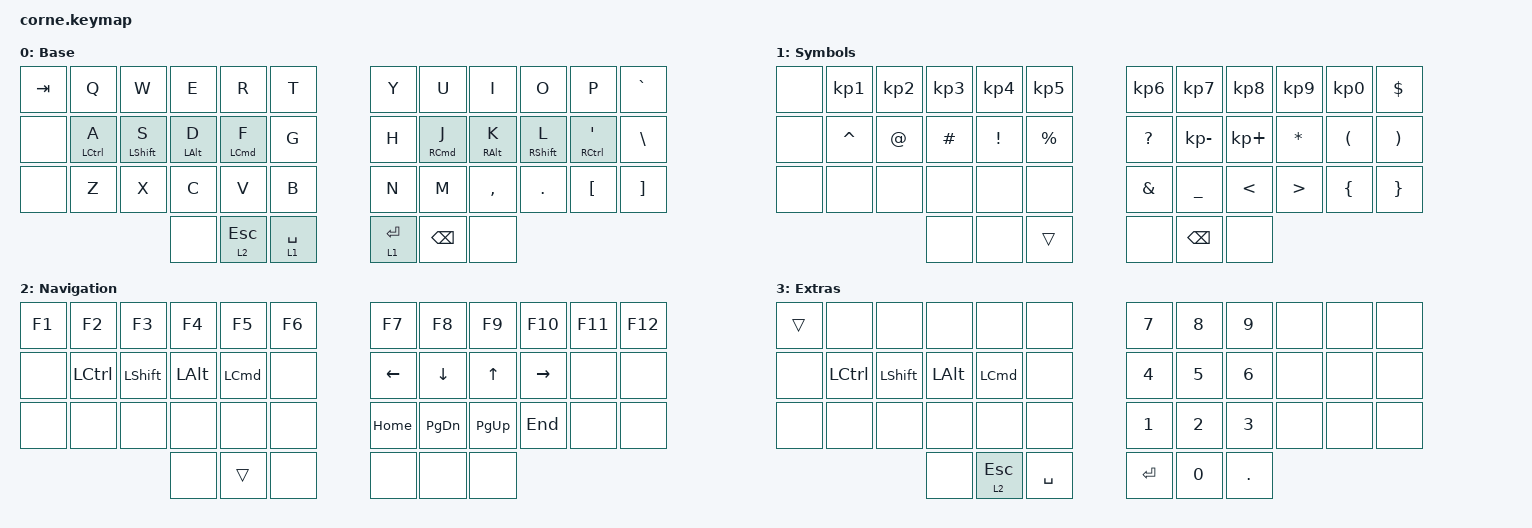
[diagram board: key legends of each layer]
/*
 * Copyright (c) 2020 The ZMK Contributors
 *
 * SPDX-License-Identifier: MIT
 */

#include <behaviors.dtsi>
#include <dt-bindings/zmk/keys.h>

&mt {
    tapping-term-ms = <200>;
    quick-tap-ms = <200>;
    flavor = "tap-preferred";
    require-prior-idle-ms = <125>;
};

/ {
    macros {
        alt_130: alt_130 {
            compatible = "zmk,behavior-macro";
            #binding-cells = <0>;
            bindings = <&none>;
            label = "ALT_130";
        };
    };

    keymap {
        compatible = "zmk,keymap";

        Base {
            // -----------------------------------------------------------------------------------------
            // |  TAB |  Q  |  W  |  E  |  R  |  T  |   |  Y  |  U   |  I  |  O  |  P  | BSPC |
            // | CTRL |  A  |  S  |  D  |  F  |  G  |   |  H  |  J   |  K  |  L  |  ;  |  '   |
            // | SHFT |  Z  |  X  |  C  |  V  |  B  |   |  N  |  M   |  ,  |  .  |  /  | ESC  |
            //                    | GUI | LWR | SPC |   | ENT | RSE  | ALT |

            bindings = <
&kp TAB  &kp Q               &kp W             &kp E           &kp R               &kp T          &kp Y        &kp U                &kp I            &kp O              &kp P                           &kp GRAVE
&none    &mt LEFT_CONTROL A  &mt LEFT_SHIFT S  &mt LEFT_ALT D  &mt LEFT_COMMAND F  &kp G          &kp H        &mt RIGHT_COMMAND J  &mt RIGHT_ALT K  &mt RIGHT_SHIFT L  &mt RIGHT_CONTROL SINGLE_QUOTE  &kp BACKSLASH
&none    &kp Z               &kp X             &kp C           &kp V               &kp B          &kp N        &kp M                &kp COMMA        &kp PERIOD         &kp LEFT_BRACKET                &kp RIGHT_BRACKET
                                               &none           &lt 2 ESC           &lt 1 SPACE    &lt 1 ENTER  &kp BACKSPACE        &none
            >;
        };

        Symbols {
            // -----------------------------------------------------------------------------------------
            // |  TAB |  !  |  @  |  #  |  $  |  %  |   |  ^  |  &  |  *  |  (  |  )  | BSPC |
            // | CTRL |     |     |     |     |     |   |  -  |  =  |  [  |  ]  |  \  |  `   |
            // | SHFT |     |     |     |     |     |   |  _  |  +  |  {  |  }  | "|" |  ~   |
            //                    | GUI |     | SPC |   | ENT |     | ALT |

            bindings = <
&none  &kp KP_NUMBER_1  &kp KP_NUMBER_2  &kp KP_NUMBER_3  &kp KP_NUMBER_4  &kp KP_NUMBER_5    &kp KP_NUMBER_6  &kp KP_NUMBER_7  &kp KP_NUMBER_8  &kp KP_NUMBER_9   &kp KP_NUMBER_0       &kp DOLLAR
&none  &kp CARET        &kp AT_SIGN      &kp POUND        &kp EXCLAMATION  &kp PERCENT        &kp QUESTION     &kp KP_MINUS     &kp KP_PLUS      &kp ASTRK         &kp LEFT_PARENTHESIS  &kp RIGHT_PARENTHESIS
&none  &none            &none            &none            &none            &none              &kp AMPERSAND    &kp UNDERSCORE   &kp LESS_THAN    &kp GREATER_THAN  &kp LEFT_BRACE        &kp RIGHT_BRACE
                                         &none            &none            &trans             &none            &kp BACKSPACE    &none
            >;
        };

        Navigation {
            // -----------------------------------------------------------------------------------------
            // |  TAB |  1  |  2  |  3  |  4  |  5  |   |  6  |  7  |  8  |  9  |  0  | BSPC |
            // | BTCLR| BT1 | BT2 | BT3 | BT4 | BT5 |   | LFT | DWN |  UP | RGT |     |      |
            // | SHFT |     |     |     |     |     |   |     |     |     |     |     |      |
            //                    | GUI |     | SPC |   | ENT |     | ALT |

            bindings = <
&kp F1  &kp F2            &kp F3          &kp F4        &kp F5            &kp F6    &kp F7    &kp F8         &kp F9       &kp F10    &kp F11  &kp F12
&none   &kp LEFT_CONTROL  &kp LEFT_SHIFT  &kp LEFT_ALT  &kp LEFT_COMMAND  &none     &kp LEFT  &kp DOWN       &kp UP       &kp RIGHT  &none    &none
&none   &none             &none           &none         &none             &none     &kp HOME  &kp PAGE_DOWN  &kp PAGE_UP  &kp END    &none    &none
                                          &none         &trans            &none     &none     &none          &none
            >;
        };

        Extras {
            bindings = <
&trans  &none             &none           &none         &none             &none        &kp N7        &kp N8        &kp N9        &none  &none  &none
&none   &kp LEFT_CONTROL  &kp LEFT_SHIFT  &kp LEFT_ALT  &kp LEFT_COMMAND  &none        &kp NUMBER_4  &kp N5        &kp NUMBER_6  &none  &none  &none
&none   &none             &none           &none         &none             &none        &kp NUMBER_1  &kp NUMBER_2  &kp NUMBER_3  &none  &none  &none
                                          &none         &lt 2 ESC         &kp SPACE    &kp ENTER     &kp N0        &kp DOT
            >;
        };
    };
};
